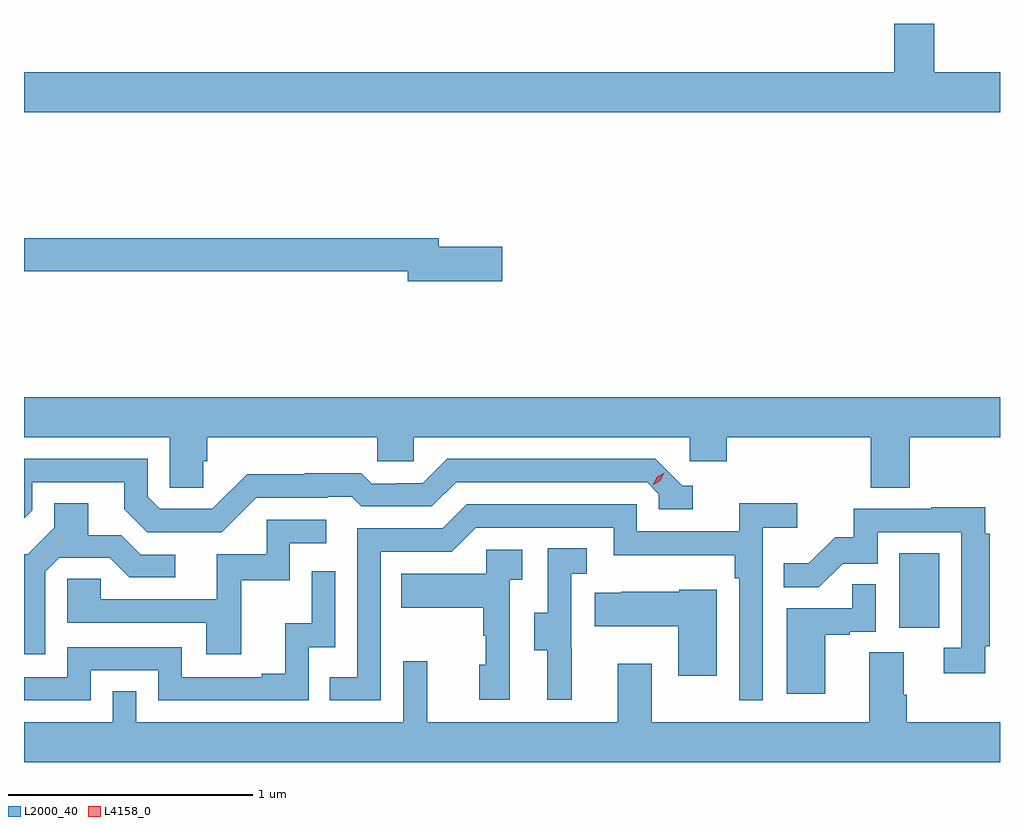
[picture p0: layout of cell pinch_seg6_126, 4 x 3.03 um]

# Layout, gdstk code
import gdstk
lib = gdstk.Library(unit=1e-6, precision=1e-09)
def R(c, l, rs):  # rectangles x0, y0, x1, y1
    for r in rs: c.add(gdstk.rectangle(r[:2], r[2:], *l))
def P(c, l, *ps):  # polygons
    for p in ps: c.add(gdstk.Polygon(p, *l))
L2000_40 = (2000, 40)
L4158_0 = (4158, 0)

pinch_seg6_126 = lib.new_cell('pinch_seg6_126')
R(pinch_seg6_126, L2000_40, [(1015.622,926.574,1015.786,926.881)])
P(pinch_seg6_126, L2000_40, [(1016.034,928.852),(1015.765,928.852),(1015.765,929.05),(1015.601,929.05),(1015.601,928.852),(1012.034,928.852),(1012.034,928.688),(1016.034,928.688)],
  [(1013.995,928.136),(1013.734,928.136),(1013.734,928.172),(1012.034,928.172),(1012.034,928.036),(1013.606,928.036),(1013.606,927.994),(1013.995,927.994)],
  [(1012.769,927.258),(1012.784,927.258),(1012.784,927.356),(1013.481,927.356),(1013.481,927.258),(1013.631,927.258),(1013.631,927.356),(1014.762,927.356),(1014.762,927.258),(1014.914,927.258),(1014.914,927.356),(1015.505,927.356),(1015.505,927.148),(1015.665,927.148),(1015.665,927.356),(1016.034,927.356),(1016.034,927.52),(1012.034,927.52),(1012.034,927.356),(1012.632,927.356),(1012.632,927.148),(1012.769,927.148)],
  [(1012.986,927.108),(1013.279,927.108),(1013.279,927.111),(1013.378,927.111),(1013.417,927.072),(1013.706,927.072),(1013.805,927.171),(1014.588,927.171),(1014.636,927.123),(1014.636,927.06),(1014.775,927.06),(1014.775,927.156),(1014.732,927.156),(1014.621,927.267),(1013.768,927.267),(1013.669,927.168),(1013.562,927.168),(1013.562,927.165),(1013.459,927.165),(1013.417,927.208),(1013.184,927.208),(1013.184,927.205),(1012.948,927.205),(1012.806,927.063),(1012.59,927.063),(1012.542,927.111),(1012.542,927.267),(1012.034,927.267),(1012.034,927.023),(1012.068,927.057),(1012.068,927.171),(1012.445,927.171),(1012.445,927.061),(1012.539,926.967),(1012.845,926.967)],
  [(1012.122,926.805),(1012.179,926.862),(1012.385,926.862),(1012.466,926.781),(1012.654,926.781),(1012.654,926.874),(1012.512,926.874),(1012.432,926.954),(1012.297,926.954),(1012.297,927.086),(1012.157,927.086),(1012.157,926.984),(1012.05,926.877),(1012.034,926.877),(1012.034,926.466),(1012.122,926.466)],
  [(1013.496,926.886),(1013.787,926.886),(1013.886,926.985),(1014.45,926.985),(1014.45,926.873),(1014.946,926.873),(1014.946,926.777),(1014.966,926.777),(1014.966,926.277),(1015.062,926.277),(1015.062,926.984),(1015.204,926.984),(1015.204,927.086),(1014.965,927.086),(1014.965,926.97),(1014.546,926.97),(1014.546,927.081),(1013.849,927.081),(1013.75,926.982),(1013.4,926.982),(1013.4,926.373),(1013.287,926.373),(1013.287,926.277),(1013.496,926.277)],
  [(1015.973,926.5),(1015.991,926.5),(1015.991,926.96),(1015.973,926.96),(1015.973,927.068),(1015.753,927.068),(1015.753,927.063),(1015.435,927.063),(1015.435,926.946),(1015.358,926.946),(1015.251,926.839),(1015.147,926.839),(1015.147,926.74),(1015.291,926.74),(1015.389,926.838),(1015.533,926.838),(1015.533,926.967),(1015.875,926.967),(1015.875,926.493),(1015.803,926.493),(1015.803,926.388),(1015.973,926.388)],
  [(1012.925,926.769),(1013.124,926.769),(1013.124,926.922),(1013.272,926.922),(1013.272,927.018),(1013.028,927.018),(1013.028,926.877),(1012.823,926.877),(1012.823,926.691),(1012.349,926.691),(1012.349,926.775),(1012.212,926.775),(1012.212,926.595),(1012.781,926.595),(1012.781,926.466),(1012.925,926.466)],
  [(1014.278,926.493),(1014.276,926.493),(1014.276,926.797),(1014.34,926.797),(1014.34,926.9),(1014.18,926.9),(1014.18,926.637),(1014.125,926.637),(1014.125,926.482),(1014.179,926.482),(1014.179,926.28),(1014.278,926.28)],
  [(1014.024,926.771),(1014.076,926.771),(1014.076,926.895),(1013.928,926.895),(1013.928,926.797),(1013.581,926.797),(1013.581,926.657),(1013.916,926.657),(1013.916,926.543),(1013.926,926.543),(1013.926,926.424),(1013.9,926.424),(1013.9,926.28),(1014.024,926.28)],
  [(1012.308,926.4),(1012.584,926.4),(1012.584,926.277),(1013.202,926.277),(1013.202,926.496),(1013.31,926.496),(1013.31,926.806),(1013.214,926.806),(1013.214,926.594),(1013.105,926.594),(1013.105,926.386),(1013.009,926.386),(1013.009,926.373),(1012.68,926.373),(1012.68,926.496),(1012.212,926.496),(1012.212,926.373),(1012.034,926.373),(1012.034,926.277),(1012.308,926.277)],
  [(1015.318,926.547),(1015.418,926.547),(1015.418,926.559),(1015.524,926.559),(1015.524,926.753),(1015.429,926.753),(1015.429,926.655),(1015.16,926.655),(1015.16,926.304),(1015.318,926.304)],
  [(1014.874,926.731),(1014.72,926.731),(1014.72,926.722),(1014.481,926.722),(1014.481,926.719),(1014.373,926.719),(1014.373,926.582),(1014.716,926.582),(1014.716,926.379),(1014.874,926.379)],
  [(1016.034,926.188),(1015.652,926.188),(1015.652,926.3),(1015.639,926.3),(1015.639,926.474),(1015.499,926.474),(1015.499,926.188),(1014.607,926.188),(1014.607,926.428),(1014.467,926.428),(1014.467,926.188),(1013.687,926.188),(1013.687,926.437),(1013.589,926.437),(1013.589,926.188),(1012.494,926.188),(1012.494,926.315),(1012.398,926.315),(1012.398,926.188),(1012.034,926.188),(1012.034,926.024),(1016.034,926.024)])
P(pinch_seg6_126, L4158_0, [(1014.611,927.158),(1014.611,927.158),(1014.627,927.191),(1014.658,927.21),(1014.658,927.21),(1014.658,927.21),(1014.642,927.177),(1014.611,927.158)])

lib.write_gds('pinch_seg6_126.gds')
